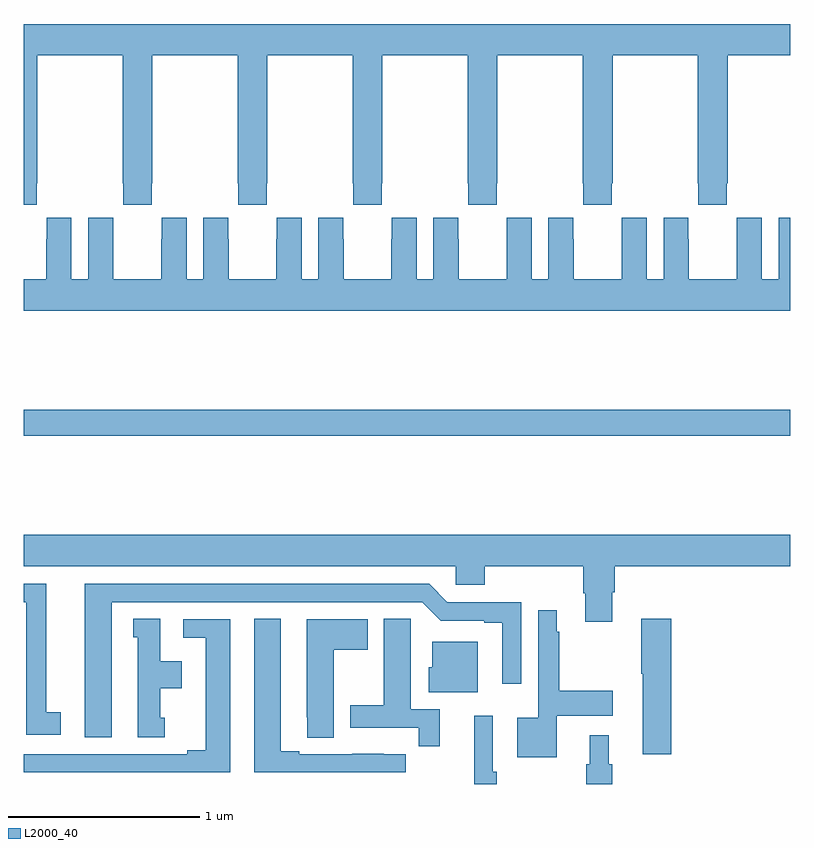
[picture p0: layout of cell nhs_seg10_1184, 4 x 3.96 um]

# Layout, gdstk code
import gdstk
lib = gdstk.Library(unit=1e-6, precision=1e-09)
def R(c, l, rs):  # rectangles x0, y0, x1, y1
    for r in rs: c.add(gdstk.rectangle(r[:2], r[2:], *l))
def P(c, l, *ps):  # polygons
    for p in ps: c.add(gdstk.Polygon(p, *l))
L2000_40 = (2000, 40)

nhs_seg10_1184 = lib.new_cell('nhs_seg10_1184')
R(nhs_seg10_1184, L2000_40, [(171,1314.316,175,1314.452)])
P(nhs_seg10_1184, L2000_40, [(171.069,1315.633),(171.072,1315.633),(171.072,1316.3),(171.517,1316.3),(171.517,1315.633),(171.519,1315.633),(171.519,1315.521),(171.669,1315.521),(171.669,1315.633),(171.672,1315.633),(171.672,1316.3),(172.117,1316.3),(172.117,1315.633),(172.119,1315.633),(172.119,1315.521),(172.269,1315.521),(172.269,1315.633),(172.272,1315.633),(172.272,1316.3),(172.717,1316.3),(172.717,1315.633),(172.719,1315.633),(172.719,1315.521),(172.869,1315.521),(172.869,1315.633),(172.872,1315.633),(172.872,1316.3),(173.317,1316.3),(173.317,1315.633),(173.319,1315.633),(173.319,1315.521),(173.469,1315.521),(173.469,1315.633),(173.472,1315.633),(173.472,1316.3),(173.917,1316.3),(173.917,1315.633),(173.919,1315.633),(173.919,1315.521),(174.069,1315.521),(174.069,1315.633),(174.072,1315.633),(174.072,1316.3),(174.517,1316.3),(174.517,1315.633),(174.519,1315.633),(174.519,1315.521),(174.669,1315.521),(174.669,1315.633),(174.672,1315.633),(174.672,1316.3),(175,1316.3),(175,1316.464),(171,1316.464),(171,1315.521),(171.069,1315.521)],
  [(172.068,1315.34),(172.068,1315.453),(171.938,1315.453),(171.938,1315.132),(171.85,1315.132),(171.85,1315.453),(171.72,1315.453),(171.72,1315.34),(171.719,1315.34),(171.719,1315.132),(171.469,1315.132),(171.469,1315.34),(171.468,1315.34),(171.468,1315.453),(171.338,1315.453),(171.338,1315.132),(171.25,1315.132),(171.25,1315.453),(171.12,1315.453),(171.12,1315.34),(171.119,1315.34),(171.119,1315.132),(171,1315.132),(171,1314.968),(175,1314.968),(175,1315.453),(174.938,1315.453),(174.938,1315.132),(174.85,1315.132),(174.85,1315.453),(174.72,1315.453),(174.72,1315.34),(174.719,1315.34),(174.719,1315.132),(174.469,1315.132),(174.469,1315.34),(174.468,1315.34),(174.468,1315.453),(174.338,1315.453),(174.338,1315.132),(174.25,1315.132),(174.25,1315.453),(174.12,1315.453),(174.12,1315.34),(174.119,1315.34),(174.119,1315.132),(173.869,1315.132),(173.869,1315.34),(173.868,1315.34),(173.868,1315.453),(173.738,1315.453),(173.738,1315.132),(173.65,1315.132),(173.65,1315.453),(173.52,1315.453),(173.52,1315.34),(173.519,1315.34),(173.519,1315.132),(173.269,1315.132),(173.269,1315.34),(173.268,1315.34),(173.268,1315.453),(173.138,1315.453),(173.138,1315.132),(173.05,1315.132),(173.05,1315.453),(172.92,1315.453),(172.92,1315.34),(172.919,1315.34),(172.919,1315.132),(172.669,1315.132),(172.669,1315.34),(172.668,1315.34),(172.668,1315.453),(172.538,1315.453),(172.538,1315.132),(172.45,1315.132),(172.45,1315.453),(172.32,1315.453),(172.32,1315.34),(172.319,1315.34),(172.319,1315.132),(172.069,1315.132),(172.069,1315.34)],
  [(174.07,1313.499),(174.083,1313.499),(174.083,1313.636),(175,1313.636),(175,1313.8),(171,1313.8),(171,1313.636),(173.253,1313.636),(173.253,1313.538),(173.405,1313.538),(173.405,1313.636),(173.918,1313.636),(173.918,1313.494),(173.93,1313.494),(173.93,1313.346),(174.07,1313.346)],
  [(171.193,1312.874),(171.118,1312.874),(171.118,1313.544),(171,1313.544),(171,1313.448),(171.014,1313.448),(171.014,1312.758),(171.193,1312.758)],
  [(171.46,1313.448),(173.079,1313.448),(173.175,1313.352),(173.402,1313.352),(173.402,1313.34),(173.498,1313.34),(173.498,1313.022),(173.595,1313.022),(173.595,1313.448),(173.211,1313.448),(173.115,1313.544),(171.32,1313.544),(171.32,1312.743),(171.46,1312.743)],
  [(173.782,1312.856),(174.073,1312.856),(174.073,1312.986),(173.794,1312.986),(173.794,1313.294),(173.782,1313.294),(173.782,1313.407),(173.685,1313.407),(173.685,1312.846),(173.576,1312.846),(173.576,1312.64),(173.782,1312.64)],
  [(171.736,1312.845),(171.712,1312.845),(171.712,1313),(171.826,1313),(171.826,1313.14),(171.712,1313.14),(171.712,1313.363),(171.572,1313.363),(171.572,1313.265),(171.596,1313.265),(171.596,1312.743),(171.736,1312.743)],
  [(172.993,1312.656),(172.88,1312.656),(172.88,1312.657),(172.714,1312.657),(172.714,1312.656),(172.438,1312.656),(172.438,1312.671),(172.342,1312.671),(172.342,1313.363),(172.202,1313.363),(172.202,1312.56),(172.993,1312.56)],
  [(173.171,1312.89),(173.02,1312.89),(173.02,1313.252),(173.019,1313.252),(173.019,1313.363),(172.88,1313.363),(172.88,1312.911),(172.703,1312.911),(172.703,1312.794),(173.062,1312.794),(173.062,1312.698),(173.171,1312.698)],
  [(174.377,1313.362),(174.223,1313.362),(174.223,1313.074),(174.23,1313.074),(174.23,1312.656),(174.377,1312.656)],
  [(172.618,1313.2),(172.795,1313.2),(172.795,1313.359),(172.478,1313.359),(172.478,1312.849),(172.479,1312.849),(172.479,1312.741),(172.618,1312.741)],
  [(172.078,1313.358),(171.834,1313.358),(171.834,1313.262),(171.95,1313.262),(171.95,1312.676),(171.854,1312.676),(171.854,1312.656),(171,1312.656),(171,1312.56),(172.078,1312.56)],
  [(173.368,1313.242),(173.132,1313.242),(173.132,1313.109),(173.114,1313.109),(173.114,1312.979),(173.368,1312.979)],
  [(173.468,1312.564),(173.448,1312.564),(173.448,1312.855),(173.351,1312.855),(173.351,1312.5),(173.468,1312.5)],
  [(174.071,1312.602),(174.052,1312.602),(174.052,1312.753),(173.954,1312.753),(173.954,1312.602),(173.935,1312.602),(173.935,1312.5),(174.071,1312.5)])

lib.write_gds('nhs_seg10_1184.gds')
